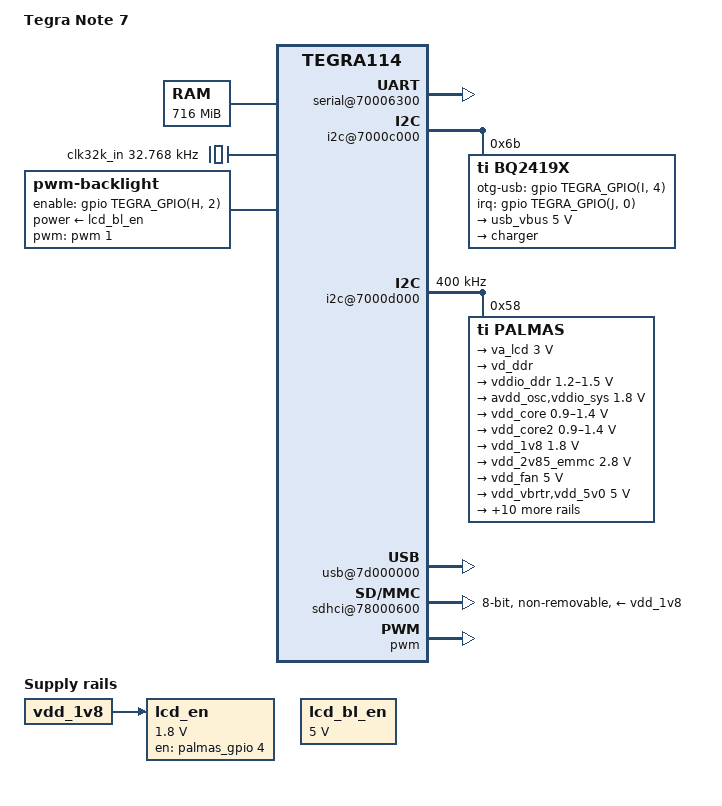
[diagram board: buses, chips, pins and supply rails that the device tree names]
/dts-v1/;

#include "tegra114.dtsi"

/ {
	model = "Tegra Note 7";
	compatible = "nvidia,tn7", "nvidia,tegra114";

	chosen {
		bootargs = "console=ttyS0,115200n8 console=tty1 earlyprintk ignore_loglevel gpt fbcon=rotate:3";
		linux,initrd-start = <0x82000000>;
		linux,initrd-end = <0x82800000>;
	};

	firmware {
		trusted-foundations {
			compatible = "tlm,trusted-foundations";
			tlm,version-major = <2>;
			tlm,version-minor = <8>;
		};
	};

	memory {
		reg = <0x80000000 0x2cc00000>;
		       /* hole for bootloader-initialized framebuffer */
		       /*0xad400000 0x12c00000>;*/
	};

	serial@70006300 {
		status = "okay";
	};

	i2c@7000c000 {
		status = "okay";

		bq2419x {
			compatible = "ti,bq2419x";
			reg = <0x6b>;
			interrupt-parent = <&gpio>;
			interrupts = <TEGRA_GPIO(J, 0) GPIO_ACTIVE_HIGH>;
			ti,watchdog-timeout = <40>;
			ti,maximum-in-voltage-limit = <4200>;
			ti,fast-charge-current-limit = <2500>;
			otg-usb-gpio = <&gpio TEGRA_GPIO(I, 4) GPIO_ACTIVE_HIGH>;

			regulators {
				usb_vbus: vbus {
					regulator-name = "vbus";
					regulator-min-microvolt = <0>;
					regulator-max-microvolt = <5000000>;
				};

				charger {
					regulator-name = "charger";
					regulator-min-microamp = <100000>;
					regulator-max-microamp = <2000000>;
				};
			};
		};
	};

	i2c@7000d000 {
		status = "okay";
		clock-frequency = <400000>;

		palmas: tps65913@58 {
			compatible = "ti,palmas";
			reg = <0x58>;
			interrupts = <0 86 IRQ_TYPE_LEVEL_LOW>;

			#interrupt-cells = <2>;
			interrupt-controller;

			ti,system-power-controller;

			palmas_gpio: gpio {
				compatible = "ti,palmas-gpio";
				gpio-controller;
				#gpio-cells = <2>;
			};

			pmic {
				compatible = "ti,tps65913-pmic", "ti,palmas-pmic";

				regulators {
					va_lcd: smps6 {
						regulator-name = "va_lcd";
						regulator-min-microvolt = <3000000>;
						regulator-max-microvolt = <3000000>;
						regulator-boot-on;
						regulator-always-on;
					};

					smps7 {
						regulator-name = "vd_ddr";
						regulator-boot-on;
						regulator-always-on;
					};

					smps12 {
						regulator-name = "vddio_ddr";
						regulator-min-microvolt = <1200000>;
						regulator-max-microvolt = <1500000>;
						/* crash if not always enabled */
						regulator-always-on;
					};

					smps123 {
						/* crash if not always enabled */
						regulator-boot-on;
						regulator-always-on;
					};

					smps3 {
						regulator-name = "avdd_osc,vddio_sys";
						regulator-min-microvolt = <1800000>;
						regulator-max-microvolt = <1800000>;
						/* crash if not always enabled */
						regulator-always-on;
					};

					smps45 {
						regulator-name = "vdd_core";
						regulator-min-microvolt = <900000>;
						regulator-max-microvolt = <1400000>;
						regulator-always-on;
					};

					smps457 {
						regulator-name = "vdd_core2";
						regulator-min-microvolt = <900000>;
						regulator-max-microvolt = <1400000>;
						regulator-always-on;
					};

					vdd_1v8: smps8 {
						regulator-name = "avdd_*";
						regulator-min-microvolt = <1800000>;
						regulator-max-microvolt = <1800000>;
						regulator-always-on;
						regulator-boot-on;
					};

					vdd_2v85_emmc: smps9 {
						regulator-name = "vddio_sd_slot";
						regulator-min-microvolt = <2800000>;
						regulator-max-microvolt = <2800000>;
						regulator-always-on;
						regulator-boot-on;
					};

					smps10_out1 {
						regulator-name = "vdd_fan";
						regulator-min-microvolt = <5000000>;
						regulator-max-microvolt = <5000000>;
						regulator-always-on;
						regulator-boot-on;
					};

					smps10_out2 {
						regulator-name = "vdd_vbrtr,vdd_5v0";
						regulator-min-microvolt = <5000000>;
						regulator-max-microvolt = <5000000>;
						regulator-always-on;
						regulator-boot-on;
					};

					ldo1 {
						regulator-name = "va_pllx";
						regulator-boot-on;
						regulator-always-on;
					};

					vdd_2v8_display: ldo2 {
						regulator-name = "vdd_2v8_display";
						regulator-min-microvolt = <2800000>;
						regulator-max-microvolt = <2800000>;
						/* Keep panel alive while we don't have proper driver */
						regulator-boot-on;
						regulator-always-on;
					};

					ldo3 {
						regulator-name = "avdd_dsi_csi,pwrdet_mipi";
						regulator-min-microvolt = <1200000>;
						regulator-max-microvolt = <1200000>;
						regulator-always-on;
						regulator-boot-on;
					};

					ldo5 {
						regulator-name = "avdd_hdmi_pll";
						regulator-min-microvolt = <1200000>;
						regulator-max-microvolt = <1200000>;
					};

					ldo6 {
						regulator-name = "vdd_sensor,vdd";
						regulator-min-microvolt = <2850000>;
						regulator-max-microvolt = <2850000>;
					};

					ldo8 {
						regulator-name = "vdd_rtc";
						regulator-min-microvolt = <900000>;
						regulator-max-microvolt = <900000>;
						ti,enable-ldo8-tracking;
						regulator-always-on;
						regulator-boot-on;
					};

					vddio_sdmmc3: ldo9 {
						regulator-name = "vddio_sdmmc3";
						regulator-min-microvolt = <1800000>;
						regulator-max-microvolt = <3300000>;
						regulator-always-on;
						regulator-boot-on;
					};

					ldousb {
						regulator-name = "avdd_usb,vddio_hv,pwrdet_hv";
						regulator-min-microvolt = <3300000>;
						regulator-max-microvolt = <3300000>;
						regulator-always-on;
					};

					palmas_regen1: regen1 {
						regulator-name = "vdd_3v3_sys,vdd,usb_vbus";
						/* crash if not always enabled */
						/* actually *enables* vdd_3v3_sys, not a supply! */
						regulator-boot-on;
						regulator-always-on;
					};

					regen2 {
						regulator-name = "vdd_5v0_sys";
					};

				};
			};

			rtc {
				compatible = "ti,palmas-rtc";
				interrupt-parent = <&palmas>;
				interrupts = <0 0>;
			};

		};
	};
	pmc {
		nvidia,invert-interrupt;
	};

	usb@7d000000 {
		status = "okay";
	};

	usb-phy@7d000000 {
		status = "okay";
		nvidia,xcvr-setup = <7>;
		nvidia,xcvr-lsfslew = <2>;
		nvidia,xcvr-lsrslew = <2>;
		interrupts = <GIC_SPI 20 IRQ_TYPE_LEVEL_HIGH>;
		dr_mode = "otg";
		vbus-supply = <&usb_vbus>;
	};

	/* eMMC */
	sdhci@78000600 {
		status = "okay";
		bus-width = <8>;
		vmmc-supply = <&vdd_1v8>;
		non-removable;
	};

	clocks {
		compatible = "simple-bus";
		#address-cells = <1>;
		#size-cells = <0>;

		clk32k_in: clock {
			compatible = "fixed-clock";
			reg=<0>;
			#clock-cells = <0>;
			clock-frequency = <32768>;
		};
	};

	regulators {
		compatible = "simple-bus";
		#address-cells = <1>;
		#size-cells = <0>;

		lcd_en: regulator@0 {
			compatible = "regulator-fixed";
			regulator-name = "lcd_en";
			regulator-min-microvolt = <1800000>;
			regulator-max-microvolt = <1800000>;
			vin-supply = <&vdd_1v8>;
			gpio = <&palmas_gpio 4 GPIO_ACTIVE_HIGH>;
			enable-active-high;
			regulator-boot-on;
			regulator-always-on;
		};

		lcd_bl_en: regulator@1 {
			compatible = "regulator-fixed";
			regulator-name = "lcd_bl_en";
			regulator-min-microvolt = <5000000>;
			regulator-max-microvolt = <5000000>;
			enable-active-high;
			regulator-boot-on;
		};
	};

	fb@ace23000{
		compatible = "simple-framebuffer";
		reg = <0xacc23000 0x007dd000>;
		width = <800>;
		height = <1280>;
		stride = <(800 * 4)>;
		format = "a8b8g8r8";
	};

	backlight {
		compatible = "pwm-backlight";
		pwms = <&pwm 1 40000>;

		brightness-levels = <0 16 32 48 64 80 96 112 128 144 160 176 192 208 224 240 255>;
		default-brightness-level = <10>;

		power-supply = <&lcd_bl_en>;
		enable-gpios = <&gpio TEGRA_GPIO(H, 2) GPIO_ACTIVE_HIGH>;
	};

	pwm: pwm {
		status = "okay";
	};
};
